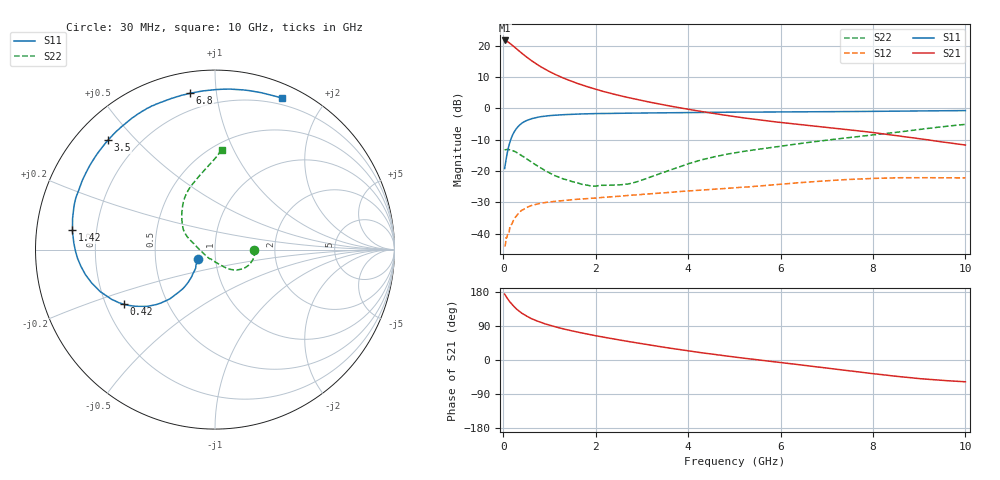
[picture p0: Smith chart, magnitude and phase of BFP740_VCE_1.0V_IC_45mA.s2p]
! Infineon Technologies  Discrete & RF Semiconductors
! BFP740
! VCE =  1.0 V,  IC =  45 mA
! Common Emitter S-Parameters:  Jan 2016
# GHz  S  MA  R  50
!  f  S11  S21  S12  S22
! GHz  MAG  ANG  MAG  ANG  MAG  ANG  MAG  ANG
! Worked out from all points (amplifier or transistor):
!   229 points, 30 MHz to 10 GHz, reference 50 ohm
!   highest |S21| = 21.7 dB at 30 MHz (marker M1)
!   |S21| within 3 dB of that: start of sweep to 314.7 MHz
!   unconditionally stable (mu >= 1): start of sweep to end of sweep
!   at 280 MHz: K = 2.18, MAG = 20.7 dB, |S12| = -34.5 dB
!   at 1.78 GHz: K = 1.99, MAG = 12.3 dB, |S12| = -28.8 dB
!   at 10 GHz: K = 2.90, MAG = -2.2 dB, |S12| = -22.2 dB
!   S11 on the Smith chart (normalised r, x): 30 MHz: 0.82, -0.09; 420 MHz: 0.27, -0.26; 1.42 GHz: 0.11, +0.07; 3.5 GHz: 0.09, +0.42; 6.8 GHz: 0.11, +0.85; 10 GHz: 0.13, +1.53
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0.03  0.1093 -150.4  12.17 174.0  0.0063 19.9  0.218 -1.2
0.06  0.1494 -136.1  11.98 168.0  0.0086 33.4  0.2199 -5.0
0.11  0.2323 -129.4  11.43 158.9  0.0099 42.3  0.2211 -10.4
0.15  0.2982 -129.9  10.88 152.4  0.0125 45.9  0.2177 -15.1
0.2  0.3727 -132.5  10.17 145.2  0.015 47.1  0.2123 -20.8
0.24  0.4243 -135.4  9.603 140.2  0.0172 46.9  0.2067 -24.8
0.3  0.4922 -140.0  8.801 133.2  0.0198 42.8  0.196 -30.8
0.42  0.5919 -149.1  7.423 122.2  0.024 39.0  0.1725 -40.7
0.5  0.6384 -154.2  6.663 116.1  0.0259 36.6  0.1576 -46.1
0.6  0.6811 -159.9  5.866 109.8  0.0279 32.7  0.1406 -52.0
0.7  0.7115 -164.8  5.222 104.4  0.0292 30.8  0.1259 -56.5
0.8  0.7355 -169.1  4.687 99.7  0.0304 28.8  0.1132 -61.0
1.08  0.7753 -178.8  3.621 89.0  0.0326 24.7  0.0868 -72.6
1.42  0.8016 172.2  2.818 78.8  0.0343 23.1  0.0709 -87.1
1.7  0.8159 165.8  2.374 71.4  0.0357 22.3  0.0613 -99.1
2.4  0.8338 152.4  1.684 55.3  0.0391 21.1  0.0598 -135.6
3.4  0.851 135.9  1.166 35.2  0.0445 20.3  0.0915 177.3
3.5  0.8524 134.3  1.129 33.2  0.045 19.8  0.0965 174.1
5.1  0.8729 114.7  0.723 6.4  0.0545 16.2  0.2 149.4
6.8  0.882 99.0  0.515 -18.3  0.0681 8.1  0.298 127.5
8.4  0.9035 80.0  0.377 -41.6  0.0776 -5.4  0.4059 104.7
10  0.9231 66.2  0.26 -57.5  0.0776 -16.3  0.5563 86.2
